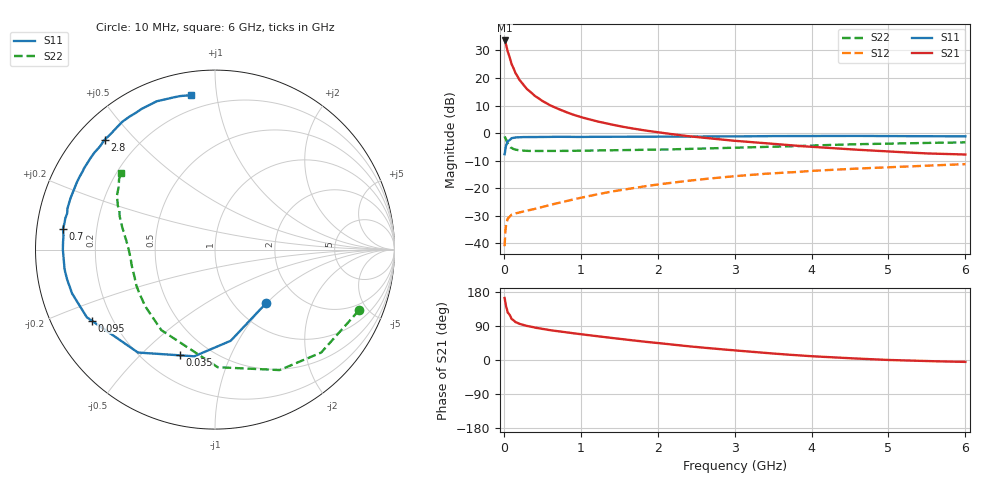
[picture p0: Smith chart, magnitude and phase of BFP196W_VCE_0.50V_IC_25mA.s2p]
! Infineon Technologies  Discrete & RF Semiconductors
! BFP196W
! VCE = 0.50V,  IC =  25mA
! Common Emitter S-Parameters:  Jan 2016
# GHz  S  MA  R  50
!  f  S11  S21  S12  S22
! GHz  MAG  ANG  MAG  ANG  MAG  ANG  MAG  ANG
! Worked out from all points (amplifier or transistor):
!   210 points, 10 MHz to 6 GHz, reference 50 ohm
!   highest |S21| = 33.6 dB at 10 MHz (marker M1)
!   |S21| within 3 dB of that: start of sweep to 41.65 MHz
!   unconditionally stable (mu >= 1): 717.6 MHz to end of sweep
!   at 185 MHz: K = 0.41, MSG = 24.6 dB, |S12| = -29.0 dB
!   at 1.52 GHz: K = 1.19, MAG = 8.9 dB, |S12| = -20.7 dB
!   at 6 GHz: K = 1.07, MAG = 0.1 dB, |S12| = -11.3 dB
!   S11 on the Smith chart (normalised r, x): 10 MHz: 1.38, -0.99; 35 MHz: 0.35, -0.66; 95 MHz: 0.12, -0.26; 700 MHz: 0.08, +0.07; 2.8 GHz: 0.08, +0.41; 6 GHz: 0.12, +0.85
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0.01  0.4126 -46.6  48.09 163.6  0.0088 72.4  0.8705 -22.9
0.02  0.5154 -80.2  44.64 151.3  0.0167 62.6  0.824 -44.1
0.03  0.6056 -101.0  39.78 140.7  0.0218 54.1  0.7617 -61.8
0.035  0.6203 -108.2  37.23 137.6  0.0232 50.3  0.7212 -67.7
0.05  0.7162 -126.8  30.45 125.5  0.0278 41.2  0.6554 -88.7
0.095  0.7922 -150.0  19.1 111.1  0.0322 30.3  0.5402 -119.7
0.1  0.8077 -152.2  17.97 108.4  0.0328 29.3  0.5391 -123.7
0.15  0.8328 -162.9  12.4 100.1  0.0346 26.7  0.5011 -140.8
0.2  0.8403 -168.4  9.378 95.7  0.0359 27.2  0.4866 -150.1
0.24  0.844 -171.6  7.947 93.0  0.0371 28.1  0.482 -154.8
0.3  0.8445 -175.0  6.301 89.9  0.0389 30.7  0.474 -160.3
0.4  0.8477 -179.4  4.762 85.5  0.0417 34.0  0.4724 -165.5
0.5  0.848 177.5  3.83 81.9  0.0453 37.7  0.4725 -169.1
0.7  0.855 172.2  2.77 76.0  0.0533 43.5  0.4723 -173.6
1.02  0.849 165.9  1.916 67.6  0.0676 48.6  0.4777 -177.9
1.4  0.8541 158.6  1.428 58.2  0.0863 51.0  0.4848 178.6
2.02  0.8587 147.9  1.022 44.3  0.117 50.3  0.4991 173.5
2.8  0.8675 135.1  0.77 28.8  0.1551 45.4  0.5295 166.9
3.1  0.8702 130.4  0.704 23.7  0.1687 42.9  0.5446 163.8
4.1  0.884 116.4  0.55 9.0  0.2088 34.7  0.5991 154.8
5.1  0.8794 105.9  0.455 -0.5  0.2421 26.8  0.6452 146.2
6  0.8709 98.7  0.407 -5.0  0.2722 20.4  0.6757 140.9
